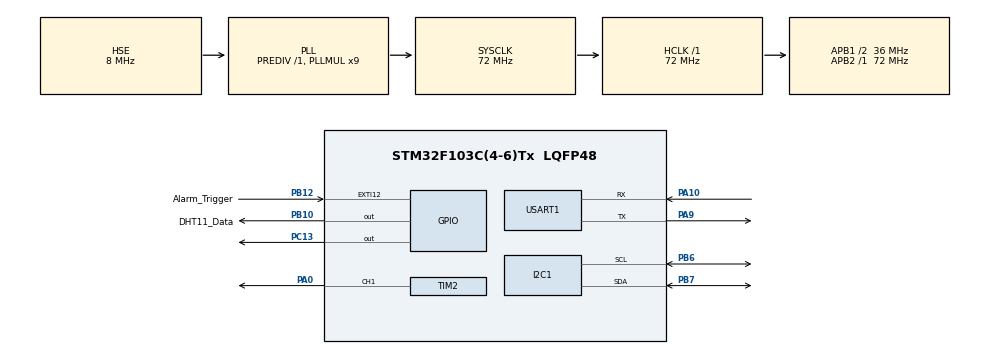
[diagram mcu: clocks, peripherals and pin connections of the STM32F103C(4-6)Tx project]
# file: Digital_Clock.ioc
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Dma.Request0=TIM2_CH1
Dma.TIM2_CH1.0.Direction=DMA_MEMORY_TO_PERIPH
Dma.TIM2_CH1.0.Instance=DMA1_Channel5
Dma.TIM2_CH1.0.MemDataAlignment=DMA_MDATAALIGN_HALFWORD
Dma.TIM2_CH1.0.MemInc=DMA_MINC_ENABLE
Dma.TIM2_CH1.0.Mode=DMA_NORMAL
Dma.TIM2_CH1.0.PeriphDataAlignment=DMA_PDATAALIGN_HALFWORD
Dma.TIM2_CH1.0.PeriphInc=DMA_PINC_DISABLE
Dma.TIM2_CH1.0.Priority=DMA_PRIORITY_LOW
I2C1.DutyCycle=I2C_DUTYCYCLE_2
I2C1.I2C_Mode=I2C_Fast
Mcu.Family=STM32F1
Mcu.Name=STM32F103C(4-6)Tx
Mcu.Package=LQFP48
NVIC.DMA1_Channel5_IRQn=true\:0\:0\:false\:false\:true\:false\:true\:true
NVIC.I2C1_ER_IRQn=true\:0\:0\:false\:false\:true\:true\:true\:true
NVIC.I2C1_EV_IRQn=true\:0\:0\:false\:false\:true\:true\:true\:true
NVIC.PriorityGroup=NVIC_PRIORITYGROUP_4
NVIC.TIM2_IRQn=true\:0\:0\:false\:false\:true\:true\:true\:true
PA0-WKUP.Signal=S_TIM2_CH1_ETR
PA10.Mode=Asynchronous
PA10.Signal=USART1_RX
PA13.Mode=Serial_Wire
PA13.Signal=SYS_JTMS-SWDIO
PA14.Mode=Serial_Wire
PA14.Signal=SYS_JTCK-SWCLK
PA9.Mode=Asynchronous
PA9.Signal=USART1_TX
PB10.GPIO_Label=DHT11_Data
PB10.Signal=GPIO_Output
PB12.GPIO_Label=Alarm_Trigger
PB12.Signal=GPXTI12
PB6.GPIO_Pu=GPIO_PULLUP
PB6.Mode=I2C
PB6.Signal=I2C1_SCL
PB7.GPIO_Pu=GPIO_PULLUP
PB7.Mode=I2C
PB7.Signal=I2C1_SDA
PC13-TAMPER-RTC.Signal=GPIO_Output
PD0-OSC_IN.Mode=HSE-External-Oscillator
PD0-OSC_IN.Signal=RCC_OSC_IN
PD1-OSC_OUT.Mode=HSE-External-Oscillator
PD1-OSC_OUT.Signal=RCC_OSC_OUT
ProjectManager.HeapSize=0x200
ProjectManager.StackSize=0x400
ProjectManager.TargetToolchain=STM32CubeIDE
RCC.AHBFreq_Value=72000000
RCC.APB1CLKDivider=RCC_HCLK_DIV2
RCC.APB1Freq_Value=36000000
RCC.APB1TimFreq_Value=72000000
RCC.APB2Freq_Value=72000000
RCC.APB2TimFreq_Value=72000000
RCC.HCLKFreq_Value=72000000
RCC.PLLMUL=RCC_PLL_MUL9
RCC.PLLSourceVirtual=RCC_PLLSOURCE_HSE
RCC.RTCClockSelection=RCC_RTCCLKSOURCE_HSE_DIV128
RCC.SYSCLKFreq_VALUE=72000000
RCC.SYSCLKSource=RCC_SYSCLKSOURCE_PLLCLK
RCC.USBFreq_Value=72000000
SH.S_TIM2_CH1_ETR.0=TIM2_CH1,PWM Generation1 CH1
TIM2.Channel-PWM\ Generation1\ CH1=TIM_CHANNEL_1
TIM2.Period=89
TIM3.Period=65534
TIM3.Prescaler=72-1
USART1.VirtualMode=VM_ASYNC
VP_TIM2_VS_ClockSourceINT.Mode=Internal
VP_TIM3_VS_ClockSourceINT.Mode=Internal
board=custom

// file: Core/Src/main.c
/* USER CODE BEGIN Header */
/**
  ******************************************************************************
  * @file           : main.c
  * @brief          : Main program body
  ******************************************************************************
  * @attention
  *x
  * Copyright (c) 2025 STMicroelectronics.
  * All rights reserved.
  *
  * This software is licensed under terms that can be found in the LICENSE file
  * in the root directory of this software component.
  * If no LICENSE file comes with this software, it is provided AS-IS.
  *
  ******************************************************************************
  */
/* USER CODE END Header */
#include "main.h"

/* USER CODE BEGIN Includes */
#include <math.h>
/* USER CODE END Includes */

/* USER CODE BEGIN PTD */
typedef struct{
	int minutes;
	int hours;
	int AMPM;
	int day_month;
	int month;
} Time;

/* USER CODE END PTD */

/* USER CODE BEGIN PD */
#define LED_NUM 30 //number of LEDS
#define LED_LOGICAL_ONE 57 //high
#define LED_LOGICAL_ZERO 28 //low
#define BRIGHTNESS 1 //preset brightness 1-45
#define DELIMITER_LED1 14
#define DELIMITER_LED2 15

#define DS3231_ADDRESS 0x68 // 7-bit I2C DS3231 address
#define BIRTH_MONTH 6
#define BIRTH_DAY 29

#define DHT11_PORT DHT11_Data_GPIO_Port
#define DHT11_PIN DHT11_Data_Pin
#define DHT11_INTERVAL 300000 //ms !!!!REMEMBER TO USE THIS LATER!!!!!!!!!!!!!1
/* USER CODE END PD */

I2C_HandleTypeDef hi2c1;

TIM_HandleTypeDef htim2;
TIM_HandleTypeDef htim3;
DMA_HandleTypeDef hdma_tim2_ch1;

UART_HandleTypeDef huart1;

/* USER CODE BEGIN PV */
static uint16_t pulse_arr[24*LED_NUM + 40]; // 24 bits per LED + reset pulse (> 50us = 40 slots at 1.25 µs per bit)
static uint8_t digit_table[13] = {
	0b1111101, //0
	0b0000101, //1
	0b1101110, //2
	0b1001111, //3
	0b0010111, //4
	0b1011011, //5
	0b1111011, //6
	0b0001101, //7
	0b1111111, //8
	0b1011111, //9
	0b1111000, //C
	0b0111010, //F
	0b0011110 //° degree symbol
};
volatile int data_sent = 0;
volatile uint8_t alarm_status = 0; //boolean: 1 = bday 0 = end of day
static volatile Time curr_time;
static uint8_t ToggleLED[LED_NUM];
static volatile uint8_t dht11_data[5];
static volatile uint8_t clock_temp_toggle = 1; //0 for clock, 1 for temperature
/* USER CODE END PV */

void SystemClock_Config(void);
static void MX_GPIO_Init(void);
static void MX_DMA_Init(void);
static void MX_TIM2_Init(void);
static void MX_USART1_UART_Init(void);
static void MX_I2C1_Init(void);
static void MX_TIM3_Init(void);
/* USER CODE BEGIN PFP */
void set_digit(int digit_pos, uint8_t digit_number);
void adjust_brightness(int brightness, uint8_t *RGB, int led_pos);
void set_LEDS(uint8_t R, uint8_t G, uint8_t B, int led_pos);
void send_LEDS(void);
void set_all_white(void);
void reset_all_LEDS(void);
void set_Toggle(int led_pos, uint8_t toggle);
void HAL_TIM_PWM_PulseFinishedCallback(TIM_HandleTypeDef *htim);
void set_digital_clock(uint8_t delimiter);
void set_time(int seconds, int minutes, int hours, int week_day, int month_day, int month, int year);
uint8_t dectoBCD(int num);
int BCDtodec(uint8_t bin);
void initiate_time(void);
void set_birthday_alarm(int day_of_month);
void HAL_GPIO_EXTI_Callback(uint16_t GPIO_Pin);
void set_gpio_outin(GPIO_TypeDef *GPIOx, uint16_t GPIO_Pin, uint8_t status);
void delay_us(uint16_t us);
uint8_t dht11_initialization();
uint8_t dht11_response();
uint8_t dht11_byte_read();
uint8_t calculate_feelslike_temp(uint8_t temp, uint8_t humidity);
float celsius_to_fahrenheit(uint8_t temp);
float fahrenheit_to_celsius(uint8_t temp);
void set_temp(uint8_t temp);
/* USER CODE END PFP */

/* USER CODE BEGIN 0 */
//-------------------------------------------------------------------> LED control
void set_digit(int digit_pos, uint8_t digit_number){ //digit position 0-4, digit_number 0-9
	int position_increment = digit_pos*7;

	if(digit_pos > 1){ //taking into account colon LED indexes
		position_increment += 2;
	}

	for(int led_index = 0; led_index < 7; led_index++){
		if(digit_table[digit_number] & (0b1000000 >> led_index)){
			set_Toggle(led_index + position_increment, 1); //on
		}
		else{
			set_Toggle(led_index + position_increment, 0); //off
		}
	}
}

//configure the brightness w/ brightness constant at top
void adjust_brightness(int brightness, uint8_t *RGB, int led_pos){
	if(brightness > 44){
			brightness = 44;
	} else if(brightness < 1){
		brightness = 1;
	}

	float angle = 90-brightness; //degrees
	angle *= M_PI/180; //radians

	RGB[0] /= tan(angle);
	RGB[1] /= tan(angle);
	RGB[2] /= tan(angle);
}

//Able to edit all 24 pulses (or all 3 RGB at once) in 8 loops -> # of bits for each RGB
void set_LEDS(uint8_t R, uint8_t G, uint8_t B, int led_pos){
	uint8_t RGB[3] = {R, G, B};
	adjust_brightness(BRIGHTNESS, RGB, led_pos);

	if (!ToggleLED[led_pos]) {//only activates LEDS if LED is toggled in toggle array
		RGB[0] = 0;
		RGB[1] = 0;
		RGB[2] = 0;
	}

	for(int i = 0; i < 8; i++){
		if(((RGB[1] << i) >> 7) & 1){ //for all statements below, bitmasks 8 different iterations to isolate one bit
			pulse_arr[i + 24*led_pos] = LED_LOGICAL_ONE;
		}
		else{
			pulse_arr[i + 24*led_pos] = LED_LOGICAL_ZERO;
		}

		if(((RGB[0] << i) >> 7) & 1){
			pulse_arr[i + 8 + 24*led_pos] = LED_LOGICAL_ONE;
		}
		else{
			pulse_arr[i + 8 + 24*led_pos] = LED_LOGICAL_ZERO;
		}

		if(((RGB[2] << i) >> 7) & 1){
			pulse_arr[i + 16 + 24*led_pos] = LED_LOGICAL_ONE;
		}
		else{
			pulse_arr[i + 16 + 24*led_pos] = LED_LOGICAL_ZERO;
		}
	}
}

//Sets on/off for an LED at a specific index 0 to # of LEDS - 1.
void set_Toggle(int led_pos, uint8_t toggle){
    ToggleLED[led_pos] = toggle;
}

void send_LEDS(){
	HAL_TIM_PWM_Start_DMA(&htim2, TIM_CHANNEL_1, (uint32_t *) pulse_arr, 24*LED_NUM + 40);
	data_sent = 0;
}

//Sets all LED on strip to white color
void set_all_white(){
	for(int i = 0; i < LED_NUM; i++){
		set_LEDS(255, 255, 255, i);
	}
}
//Turns every LED off (logical low)
void reset_all_LEDS(){
	for(int i = 0; i < LED_NUM; i++){
		set_LEDS(0, 0, 0, i);
	}
}

void hsv_to_rgb(float h, float s, float v, uint8_t* r, uint8_t* g, uint8_t* b) {
    float c = v * s;
    float x = c * (1.0f - fabsf(fmodf(h * 6.0f, 2.0f) - 1.0f));
    float m = v - c;
    float rf = 0, gf = 0, bf = 0;

    if (h < 1.0f/6.0f)       { rf = c; gf = x; bf = 0; }
    else if (h < 2.0f/6.0f)  { rf = x; gf = c; bf = 0; }
    else if (h < 3.0f/6.0f)  { rf = 0; gf = c; bf = x; }
    else if (h < 4.0f/6.0f)  { rf = 0; gf = x; bf = c; }
    else if (h < 5.0f/6.0f)  { rf = x; gf = 0; bf = c; }
    else                    { rf = c; gf = 0; bf = x; }

    *r = (uint8_t)((rf + m) * 255);
    *g = (uint8_t)((gf + m) * 255);
    *b = (uint8_t)((bf + m) * 255);
}

void rainbow_effect(uint32_t now){
    static float base_hue = 0.0f;
    static uint32_t last_ms = 0;

    if (now - last_ms < 20) return;
    last_ms = now;

    for (int i = 0; i < LED_NUM; i++) {
        float hue = base_hue + ((float)i / LED_NUM);
        if (hue >= 1.0f) hue -= 1.0f;

        uint8_t r, g, b;
        hsv_to_rgb(hue, 1.0f, 0.3f, &r, &g, &b);

        set_LEDS(r, g, b, i);
    }

    base_hue += 0.01f;
    if (base_hue >= 1.0f) base_hue -= 1.0f;
}

void set_digital_clock(uint8_t delimiter){
	set_digit(3, curr_time.minutes%10); //2nd digit from right, one's minute value
	set_digit(2, curr_time.minutes/10); //3nd digit from right, ten's minute value
	set_digit(1, curr_time.hours%10); //4nd digit from right, one's hour value
	set_digit(0, curr_time.hours/10); //5nd digit from right, ten's hour value

	if(delimiter){
		set_Toggle(DELIMITER_LED1, 1);
		set_Toggle(DELIMITER_LED2, 1);
	}
	else{
		set_Toggle(DELIMITER_LED1, 0);
		set_Toggle(DELIMITER_LED2, 0);
	}

	for(int i = 0; i < LED_NUM; i++){
		set_LEDS(255, 0, 0, i);
	}
}

//-------------------------------------------------------------------> DS3231 setup
void set_time(int seconds, int minutes, int hours, int week_day, int month_day, int month, int year){ //initialize the ds3231 registers
	uint8_t buffer[] = {
		dectoBCD(seconds), //seconds
		dectoBCD(minutes), //minutes
		dectoBCD(hours), //hours
		dectoBCD(week_day), //days in week 1-7
		dectoBCD(month_day), //days in month 1-31
		dectoBCD(month), //month
		dectoBCD(year), //year
	};

	//initialize time registers in DS3231
	HAL_I2C_Mem_Write(&hi2c1, DS3231_ADDRESS << 1, 0x00, 1, buffer, 7, 1000);

	//clear OSF flag & 32k SQW pin
    uint8_t status;
    HAL_I2C_Mem_Read(&hi2c1, DS3231_ADDRESS << 1, 0x0F, 1, &status, 1, 1000);
    status &= ~((1 << 7) | (1 << 3));
    HAL_I2C_Mem_Write(&hi2c1, DS3231_ADDRESS << 1, 0x0F, 1, &status, 1, 1000);
}

void update_time(){
	uint8_t buffer[4];
    HAL_I2C_Mem_Read(&hi2c1, DS3231_ADDRESS << 1, 0x01, 1, &buffer[0], 2, 1000); //read minutes & hours
    HAL_I2C_Mem_Read(&hi2c1, DS3231_ADDRESS << 1, 0x04, 1, &buffer[2], 2, 1000); //read day in month & current month

    curr_time.minutes = BCDtodec(buffer[0]);
    curr_time.hours = BCDtodec(buffer[1] & 0x3F);
    curr_time.day_month = BCDtodec(buffer[2]);
    curr_time.month = BCDtodec(buffer[3] & 0x1F);
}

uint8_t dectoBCD(int num){
	return (uint8_t)(((num/10) << 4) + num%10);
}

int BCDtodec(uint8_t bin){
	return (int)((bin>>4)*10 + (bin & 0x0F));
}

void initiate_time(){
	set_time(50, 59, 9, 1, 1, 1, 0); //edit or add API
}

void set_birthday_alarm(int day_of_month){
	//alarm control register setting
	uint8_t ctrl;
	HAL_I2C_Mem_Read(&hi2c1, DS3231_ADDRESS << 1, 0x0E, 1, &ctrl, 1, 1000);
	ctrl |= 0b00000111; // A1IE, A2IE, INTCN bits turned on
	HAL_I2C_Mem_Write(&hi2c1, DS3231_ADDRESS << 1, 0x0E, 1, &ctrl, 1, 1000);

	//create buffer used to fill & represent both alarm registers
	uint8_t alarm_buffer[] = {
		0x00, //alarm 1 seconds, set 3 seconds into the day just in case
		0x00, //a1 minutes
		0x00, //a1 hours
		dectoBCD(day_of_month), //a1 month-day
		0x00, //a2 minutes, set 1 minute at the end of the day just in case
		0x00, //a2 hours
		dectoBCD(day_of_month+1) //a2 month-day
	};

	HAL_I2C_Mem_Write(&hi2c1, DS3231_ADDRESS << 1, 0x07, 1, alarm_buffer, 7, 1000);
};

//-------------------------------------------------------------------> DHT11 setup
void set_gpio_outin(GPIO_TypeDef *GPIOx, uint16_t GPIO_Pin, uint8_t status){ //1 for output, 0 for input
	GPIO_InitTypeDef GPIO_InitStruct = {0};
	GPIO_InitStruct.Pin = GPIO_Pin;
	GPIO_InitStruct.Pull = GPIO_NOPULL;
	if(status == 1){
		GPIO_InitStruct.Mode = GPIO_MODE_OUTPUT_PP;
		GPIO_InitStruct.Speed = GPIO_SPEED_FREQ_LOW;
	} else{
		GPIO_InitStruct.Mode = GPIO_MODE_INPUT;
	}
	HAL_GPIO_Init(GPIOx, &GPIO_InitStruct);
}

void delay_us(uint16_t us){
	__HAL_TIM_SET_COUNTER(&htim3, 0);  // set the counter value a 0
	while (__HAL_TIM_GET_COUNTER(&htim3) < us);  // wait for the counter to reach the us input in the parameter
}

uint8_t dht11_initialization(){
	uint8_t confirm_check = 0; //bool to check if dht11 return signal is correct
	while(!confirm_check){
		set_gpio_outin(DHT11_PORT, DHT11_PIN, 1); //output
		HAL_GPIO_WritePin(DHT11_PORT, DHT11_PIN, 0);
		HAL_Delay(20); //20ms
		HAL_GPIO_WritePin(DHT11_PORT, DHT11_PIN, 1);
		delay_us(30); //30us
		set_gpio_outin(DHT11_PORT, DHT11_PIN, 0); //input
		confirm_check = dht11_response();

		if(!confirm_check){
			HAL_Delay(1000);
		}
	}
	return confirm_check;
}

uint8_t dht11_response(){
	uint8_t res = 0;
	delay_us(40); //40 us
	if(!HAL_GPIO_ReadPin(DHT11_PORT, DHT11_PIN)){
		delay_us(80);
		if(HAL_GPIO_ReadPin(DHT11_PORT, DHT11_PIN)){
			res = 1;
		}
	}
	uint32_t start = HAL_GetTick();
	while (HAL_GPIO_ReadPin(DHT11_PORT, DHT11_PIN)) { // !!! wait for pin to go low
		if (HAL_GetTick() - start > 2) {  // 2 ms timeout
			return 0;  // line never went LOW again, abort
		}
	}
	return res;
}

uint8_t dht11_byte_read(){
	uint8_t res = 0;
	for(int i = 0; i < 8; i++){
		while(!HAL_GPIO_ReadPin(DHT11_PORT, DHT11_PIN));
		delay_us(40);
		if(HAL_GPIO_ReadPin(DHT11_PORT, DHT11_PIN)){
			res |= (1 << (7-i));
			while ((HAL_GPIO_ReadPin (DHT11_PORT, DHT11_PIN)));
		}
	}
	return res;
}

uint8_t calculate_feelslike_temp(uint8_t temp, uint8_t humidity){
	float f_temp = celsius_to_fahrenheit(temp);
	if(f_temp >= 80){
		float heat_index =
			- 42.379
			+ 2.04901523 * f_temp
			+ 10.14333127 * humidity
			- 0.22475541 * f_temp * humidity
			- 0.00683783 * f_temp * f_temp
			- 0.05481717 * humidity * humidity
			+ 0.00122874 * f_temp * f_temp * humidity
			+ 0.00085282 * f_temp * humidity * humidity
			- 0.00000199 * f_temp * f_temp * humidity * humidity;
		return (uint8_t) fahrenheit_to_celsius(heat_index);
	}
	else {
		return temp;
	}
}

float celsius_to_fahrenheit(uint8_t temp){
	return (temp * (9.0/5.0)) + 32;
}

float fahrenheit_to_celsius(uint8_t temp){
	return (temp - 32) * (5.0/9.0);
}

void set_temp(uint8_t temp){ //displays temp on clock, !!!probably only use Celsius for now
	set_digit(3, 10); //1st digit from right, temperature scale (C/F), 10 is index for celsius
	set_digit(2, 12); //2nd digit from right, temp degree symbol, 12 is index for symbol in digital table above
	set_digit(1, temp%10); //3nd digit from right, one's temp value
	set_digit(0, temp/10); //4th digit from right, ten's temp value

	set_Toggle(DELIMITER_LED1, 0); //turn off clock delimitor
	set_Toggle(DELIMITER_LED2, 0);

	for(int i = 0; i < LED_NUM; i++){
		set_LEDS(255, 0, 0, i);
	}
}

/* USER CODE END 0 */

int main(void)
{

  /* MCU Configuration--------------------------------------------------------*/

  /* Reset of all peripherals, Initializes the Flash interface and the Systick. */
  HAL_Init();

  /* Configure the system clock */
  SystemClock_Config();

  /* Initialize all configured peripherals */
  MX_GPIO_Init();
  MX_DMA_Init();
  MX_TIM2_Init();
  MX_USART1_UART_Init();
  MX_I2C1_Init();
  MX_TIM3_Init();
  /* USER CODE BEGIN 2 */
  HAL_TIM_Base_Start(&htim3);
  initiate_time();
  HAL_Delay(100);
  update_time();

  set_birthday_alarm(BIRTH_DAY);
  HAL_Delay(100);

  uint32_t onboard_timer = 0; //timer for onboard LED
  uint32_t clock_timer = 0;
  uint32_t rainbow_timer = 0;
  uint32_t dht11_timer = 0;

  uint8_t delimiter_toggle = 1;
  if(!clock_temp_toggle){
	  set_digital_clock(delimiter_toggle);
  }

  //sets all colors to red
  if(!alarm_status){ //temp, move to BLE receive function
	  for(int i = 0; i < LED_NUM; i++){
		  set_LEDS(255, 0, 0, i);
	  }
  }

  send_LEDS();

  /* USER CODE END 2 */

  /* Infinite loop */
  /* USER CODE BEGIN WHILE */
  while (1)
  {
	  uint32_t now_tick = HAL_GetTick();

	  if(now_tick - onboard_timer >= 500){ //onboard led debugging
		  onboard_timer = now_tick;
		  HAL_GPIO_TogglePin(GPIOC, GPIO_PIN_13);
	  }

	  if(!clock_temp_toggle && data_sent && (now_tick - clock_timer >= 1000)){
		  delimiter_toggle = !delimiter_toggle;
		  clock_timer = now_tick;
		  update_time();
		  set_digital_clock(delimiter_toggle);
		  send_LEDS();
	  }

	  if(alarm_status){
		  if(data_sent && (now_tick - rainbow_timer >= 20)) {
		      rainbow_timer = now_tick;
		      rainbow_effect(now_tick);  // Now runs at RAINBOW_DELAY_MS (~20 ms)
		      send_LEDS();
		  }
	  }

	  //an infinite loop is happening
	  if (clock_temp_toggle && data_sent && now_tick - dht11_timer >= 2000) {
	      dht11_timer = now_tick;
	      uint8_t rel_hum_int = 0, rel_hum_dec = 0, temp_int = 0, temp_dec = 0, check_sum = 0;
	      while(dht11_initialization()){
			  rel_hum_int = dht11_byte_read();
			  rel_hum_dec = dht11_byte_read();
			  temp_int = dht11_byte_read();
			  temp_dec = dht11_byte_read();
			  check_sum = dht11_byte_read();
			  if(rel_hum_int + rel_hum_dec + temp_int + temp_dec == check_sum){
				  break;
			  }
			  HAL_Delay(100);
	      }
	      uint8_t temperature = calculate_feelslike_temp(temp_int, rel_hum_int);
	      set_temp(temperature);
		  send_LEDS();
	  }

    /* USER CODE END WHILE */

  }
}

void SystemClock_Config(void)
{
  RCC_OscInitTypeDef RCC_OscInitStruct = {0};
  RCC_ClkInitTypeDef RCC_ClkInitStruct = {0};

  /** Initializes the RCC Oscillators according to the specified parameters
  * in the RCC_OscInitTypeDef structure.
  */
  RCC_OscInitStruct.OscillatorType = RCC_OSCILLATORTYPE_HSE;
  RCC_OscInitStruct.HSEState = RCC_HSE_ON;
  RCC_OscInitStruct.HSEPredivValue = RCC_HSE_PREDIV_DIV1;
  RCC_OscInitStruct.HSIState = RCC_HSI_ON;
  RCC_OscInitStruct.PLL.PLLState = RCC_PLL_ON;
  RCC_OscInitStruct.PLL.PLLSource = RCC_PLLSOURCE_HSE;
  RCC_OscInitStruct.PLL.PLLMUL = RCC_PLL_MUL9;
  if (HAL_RCC_OscConfig(&RCC_OscInitStruct) != HAL_OK)
  {
    Error_Handler();
  }

  /** Initializes the CPU, AHB and APB buses clocks
  */
  RCC_ClkInitStruct.ClockType = RCC_CLOCKTYPE_HCLK|RCC_CLOCKTYPE_SYSCLK
                              |RCC_CLOCKTYPE_PCLK1|RCC_CLOCKTYPE_PCLK2;
  RCC_ClkInitStruct.SYSCLKSource = RCC_SYSCLKSOURCE_PLLCLK;
  RCC_ClkInitStruct.AHBCLKDivider = RCC_SYSCLK_DIV1;
  RCC_ClkInitStruct.APB1CLKDivider = RCC_HCLK_DIV2;
  RCC_ClkInitStruct.APB2CLKDivider = RCC_HCLK_DIV1;

  if (HAL_RCC_ClockConfig(&RCC_ClkInitStruct, FLASH_LATENCY_2) != HAL_OK)
  {
    Error_Handler();
  }
}

static void MX_I2C1_Init(void)
{

  hi2c1.Instance = I2C1;
  hi2c1.Init.ClockSpeed = 400000;
  hi2c1.Init.DutyCycle = I2C_DUTYCYCLE_2;
  hi2c1.Init.OwnAddress1 = 0;
  hi2c1.Init.AddressingMode = I2C_ADDRESSINGMODE_7BIT;
  hi2c1.Init.DualAddressMode = I2C_DUALADDRESS_DISABLE;
  hi2c1.Init.OwnAddress2 = 0;
  hi2c1.Init.GeneralCallMode = I2C_GENERALCALL_DISABLE;
  hi2c1.Init.NoStretchMode = I2C_NOSTRETCH_DISABLE;
  if (HAL_I2C_Init(&hi2c1) != HAL_OK)
  {
    Error_Handler();
  }

}

static void MX_TIM2_Init(void)
{

  TIM_ClockConfigTypeDef sClockSourceConfig = {0};
  TIM_MasterConfigTypeDef sMasterConfig = {0};
  TIM_OC_InitTypeDef sConfigOC = {0};

  htim2.Instance = TIM2;
  htim2.Init.Prescaler = 0;
  htim2.Init.CounterMode = TIM_COUNTERMODE_UP;
  htim2.Init.Period = 89;
  htim2.Init.ClockDivision = TIM_CLOCKDIVISION_DIV1;
  htim2.Init.AutoReloadPreload = TIM_AUTORELOAD_PRELOAD_DISABLE;
  if (HAL_TIM_Base_Init(&htim2) != HAL_OK)
  {
    Error_Handler();
  }
  sClockSourceConfig.ClockSource = TIM_CLOCKSOURCE_INTERNAL;
  if (HAL_TIM_ConfigClockSource(&htim2, &sClockSourceConfig) != HAL_OK)
  {
    Error_Handler();
  }
  if (HAL_TIM_PWM_Init(&htim2) != HAL_OK)
  {
    Error_Handler();
  }
  sMasterConfig.MasterOutputTrigger = TIM_TRGO_RESET;
  sMasterConfig.MasterSlaveMode = TIM_MASTERSLAVEMODE_DISABLE;
  if (HAL_TIMEx_MasterConfigSynchronization(&htim2, &sMasterConfig) != HAL_OK)
  {
    Error_Handler();
  }
  sConfigOC.OCMode = TIM_OCMODE_PWM1;
  sConfigOC.Pulse = 0;
  sConfigOC.OCPolarity = TIM_OCPOLARITY_HIGH;
  sConfigOC.OCFastMode = TIM_OCFAST_DISABLE;
  if (HAL_TIM_PWM_ConfigChannel(&htim2, &sConfigOC, TIM_CHANNEL_1) != HAL_OK)
  {
    Error_Handler();
  }
  HAL_TIM_MspPostInit(&htim2);

}

static void MX_TIM3_Init(void)
{

  TIM_ClockConfigTypeDef sClockSourceConfig = {0};
  TIM_MasterConfigTypeDef sMasterConfig = {0};

  htim3.Instance = TIM3;
  htim3.Init.Prescaler = 72-1;
  htim3.Init.CounterMode = TIM_COUNTERMODE_UP;
  htim3.Init.Period = 65534;
  htim3.Init.ClockDivision = TIM_CLOCKDIVISION_DIV1;
  htim3.Init.AutoReloadPreload = TIM_AUTORELOAD_PRELOAD_DISABLE;
  if (HAL_TIM_Base_Init(&htim3) != HAL_OK)
  {
    Error_Handler();
  }
  sClockSourceConfig.ClockSource = TIM_CLOCKSOURCE_INTERNAL;
  if (HAL_TIM_ConfigClockSource(&htim3, &sClockSourceConfig) != HAL_OK)
  {
    Error_Handler();
  }
  sMasterConfig.MasterOutputTrigger = TIM_TRGO_RESET;
  sMasterConfig.MasterSlaveMode = TIM_MASTERSLAVEMODE_DISABLE;
  if (HAL_TIMEx_MasterConfigSynchronization(&htim3, &sMasterConfig) != HAL_OK)
  {
    Error_Handler();
  }

}

static void MX_USART1_UART_Init(void)
{

  huart1.Instance = USART1;
  huart1.Init.BaudRate = 115200;
  huart1.Init.WordLength = UART_WORDLENGTH_8B;
  huart1.Init.StopBits = UART_STOPBITS_1;
  huart1.Init.Parity = UART_PARITY_NONE;
  huart1.Init.Mode = UART_MODE_TX_RX;
  huart1.Init.HwFlowCtl = UART_HWCONTROL_NONE;
  huart1.Init.OverSampling = UART_OVERSAMPLING_16;
  if (HAL_UART_Init(&huart1) != HAL_OK)
  {
    Error_Handler();
  }

}

static void MX_DMA_Init(void)
{

  /* DMA controller clock enable */
  __HAL_RCC_DMA1_CLK_ENABLE();

  /* DMA interrupt init */
  /* DMA1_Channel5_IRQn interrupt configuration */
  HAL_NVIC_SetPriority(DMA1_Channel5_IRQn, 0, 0);
  HAL_NVIC_EnableIRQ(DMA1_Channel5_IRQn);

}

static void MX_GPIO_Init(void)
{
  GPIO_InitTypeDef GPIO_InitStruct = {0};

  /* GPIO Ports Clock Enable */
  __HAL_RCC_GPIOC_CLK_ENABLE();
  __HAL_RCC_GPIOD_CLK_ENABLE();
  __HAL_RCC_GPIOA_CLK_ENABLE();
  __HAL_RCC_GPIOB_CLK_ENABLE();

  /*Configure GPIO pin Output Level */
  HAL_GPIO_WritePin(GPIOC, GPIO_PIN_13, GPIO_PIN_RESET);

  /*Configure GPIO pin Output Level */
  HAL_GPIO_WritePin(DHT11_Data_GPIO_Port, DHT11_Data_Pin, GPIO_PIN_RESET);

  /*Configure GPIO pin : PC13 */
  GPIO_InitStruct.Pin = GPIO_PIN_13;
  GPIO_InitStruct.Mode = GPIO_MODE_OUTPUT_PP;
  GPIO_InitStruct.Pull = GPIO_NOPULL;
  GPIO_InitStruct.Speed = GPIO_SPEED_FREQ_LOW;
  HAL_GPIO_Init(GPIOC, &GPIO_InitStruct);

  /*Configure GPIO pin : DHT11_Data_Pin */
  GPIO_InitStruct.Pin = DHT11_Data_Pin;
  GPIO_InitStruct.Mode = GPIO_MODE_OUTPUT_PP;
  GPIO_InitStruct.Pull = GPIO_NOPULL;
  GPIO_InitStruct.Speed = GPIO_SPEED_FREQ_LOW;
  HAL_GPIO_Init(DHT11_Data_GPIO_Port, &GPIO_InitStruct);

  /*Configure GPIO pin : Alarm_Trigger_Pin */
  GPIO_InitStruct.Pin = Alarm_Trigger_Pin;
  GPIO_InitStruct.Mode = GPIO_MODE_IT_RISING;
  GPIO_InitStruct.Pull = GPIO_NOPULL;
  HAL_GPIO_Init(Alarm_Trigger_GPIO_Port, &GPIO_InitStruct);

}

/* USER CODE BEGIN 4 */
void HAL_GPIO_EXTI_Callback(uint16_t GPIO_Pin){
	if(GPIO_Pin == Alarm_Trigger_Pin) {
		uint8_t ctrl_status;
		HAL_I2C_Mem_Read(&hi2c1, DS3231_ADDRESS << 1, 0x0F, 1, &ctrl_status, 1, 1000);
		ctrl_status &= ~(0b00000011); //clears both alarm bits
		HAL_I2C_Mem_Write(&hi2c1, DS3231_ADDRESS << 1, 0x0F, 1, &ctrl_status, 1, 1000);

		update_time();
		if(curr_time.month == BIRTH_MONTH && curr_time.day_month == BIRTH_DAY){
			alarm_status = 1;
		}
		else{
			alarm_status = 0;
		}
	}
}

void HAL_TIM_PWM_PulseFinishedCallback(TIM_HandleTypeDef *htim){
	HAL_TIM_PWM_Stop_DMA(&htim2, TIM_CHANNEL_1);
	data_sent = 1;
}
/* USER CODE END 4 */

void Error_Handler(void)
{
  __disable_irq();
  while (1)
  {
  }
}

#ifdef  USE_FULL_ASSERT
/**
  * @brief  Reports the name of the source file and the source line number
  *         where the assert_param error has occurred.
  * @param  file: pointer to the source file name
  * @param  line: assert_param error line source number
  * @retval None
  */
void assert_failed(uint8_t *file, uint32_t line)
{
  /* USER CODE BEGIN 6 */
	//while (1); //halt program and keep it running
  /* USER CODE END 6 */
}
#endif /* USE_FULL_ASSERT */
